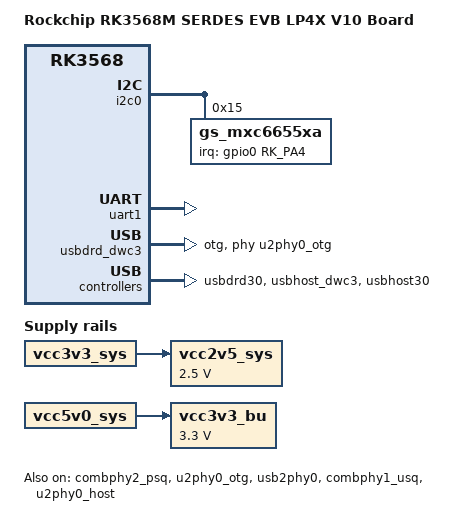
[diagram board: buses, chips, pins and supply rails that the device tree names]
// SPDX-License-Identifier: (GPL-2.0+ OR MIT)
/*
 * Copyright (c) 2022 Rockchip Electronics Co., Ltd.
 *
 */

/dts-v1/;

#include <dt-bindings/gpio/gpio.h>
#include <dt-bindings/pinctrl/rockchip.h>
#include <dt-bindings/mfd/rockchip-serdes.h>
#include "rk3568.dtsi"
#include "rk3568-evb.dtsi"

/ {
	model = "Rockchip RK3568M SERDES EVB LP4X V10 Board";
	compatible = "rockchip,rk3568m-serdes-evb-lp4x-v10", "rockchip,rk3568";

	vcc2v5_sys: vcc2v5-ddr {
		compatible = "regulator-fixed";
		regulator-name = "vcc2v5-sys";
		regulator-always-on;
		regulator-boot-on;
		regulator-min-microvolt = <2500000>;
		regulator-max-microvolt = <2500000>;
		vin-supply = <&vcc3v3_sys>;
	};

	vcc3v3_bu: vcc3v3-bu {
		compatible = "regulator-fixed";
		regulator-name = "vcc3v3_bu";
		regulator-always-on;
		regulator-boot-on;
		regulator-min-microvolt = <3300000>;
		regulator-max-microvolt = <3300000>;
		vin-supply = <&vcc5v0_sys>;
	};
};

&combphy0_us {
	status = "okay";
};

&combphy2_psq {
	status = "okay";
};

&gt1x {
	status = "disabled";
};

&i2c0 {
	status = "okay";

	gs_mxc6655xa: gs_mxc6655xa@15 {
		status = "okay";
		compatible = "gs_mxc6655xa";
		pinctrl-names = "default";
		pinctrl-0 = <&mxc6655xa_irq_gpio>;
		reg = <0x15>;
		irq-gpio = <&gpio0 RK_PA4 IRQ_TYPE_LEVEL_LOW>;
		irq_enable = <0>;
		poll_delay_ms = <30>;
		type = <SENSOR_TYPE_ACCEL>;
		power-off-in-suspend = <1>;
		layout = <1>;
	};
};

&i2c5 {
	status = "disabled";
};

&pinctrl {
	mxc6655xa {
		mxc6655xa_irq_gpio: mxc6655xa_irq_gpio {
			rockchip,pins = <0 RK_PA4 RK_FUNC_GPIO &pcfg_pull_none>;
		};
	};

	serdes {
		serdes_reset_ser0_gpio: serdes_reset_ser0_gpio {
			rockchip,pins = <0 RK_PB7 RK_FUNC_GPIO &pcfg_pull_none>;
		};
		serdes_reset_ser1_gpio: serdes_reset_ser1_gpio {
			rockchip,pins = <2 RK_PA2 RK_FUNC_GPIO &pcfg_pull_none>;
		};
		serdes_enable_ser0_gpio: serdes_enable_ser0_gpio {
			rockchip,pins = <0 RK_PD3 RK_FUNC_GPIO &pcfg_pull_none>;
		};
		serdes_enable_ser1_gpio: serdes_enable_ser1_gpio {
			rockchip,pins = <0 RK_PD4 RK_FUNC_GPIO &pcfg_pull_none>;
		};
		serdes_irq_ser0_gpio: serdes_irq_ser0_gpio {
			rockchip,pins = <0 RK_PC7 RK_FUNC_GPIO &pcfg_pull_none>;
		};
		serdes_irq_ser1_gpio: serdes_irq_ser1_gpio {
			rockchip,pins = <1 RK_PD7 RK_FUNC_GPIO &pcfg_pull_none>;
		};
	};

	serdes_panel {
		panel_reset_ser0_gpio: panel-reset-ser0-gpio {
			rockchip,pins = <0 RK_PC1 RK_FUNC_GPIO &pcfg_pull_none>;
		};
		panel_enable_ser0_gpio: panel-enable-ser0-gpio {
			rockchip,pins = <0 RK_PC5 RK_FUNC_GPIO &pcfg_pull_none>;
		};
		panel_reset_ser1_gpio: panel-reset-ser1-gpio {
			rockchip,pins = <1 RK_PA4 RK_FUNC_GPIO &pcfg_pull_none>;
		};
		panel_enable_ser1_gpio: panel-enable-ser1-gpio {
			rockchip,pins = <2 RK_PA0 RK_FUNC_GPIO &pcfg_pull_none>;
		};
	};
};

&pmu_io_domains {
	vccio6-supply = <&vcc_3v3>;
};

&pwm7 {
	status = "disabled";
};

&rk809_codec {
	status = "disabled";
};

&sdmmc0 {
	status = "disabled";
};

&sdmmc2 {
	status = "disabled";
};

&uart1 {
	status = "okay";
	pinctrl-names = "default";
	pinctrl-0 = <&uart1m0_xfer &uart1m0_ctsn>;
};

&wireless_wlan {
	status = "disabled";
};

&wireless_bluetooth {
	status = "disabled";
};

/* OTG0 */
&combphy0_us {
	rockchip,dis-u3otg0-port;
	/* OTG and SATA0 not use combphy0_us, then disabled */
	status = "disabled";
};

&i2c1 {
	status = "disabled";
	clock-frequency = <100000>;

	rkx110_x120: rkx110-x120@57 {
		compatible = "rockchip,rkx110";
		reg = <0x57>;
		remote0-addr = <0x54>;
		#address-cells = <1>;
		#size-cells = <0>;
		status = "okay";

		enable-gpios = <&gpio0 RK_PD3 GPIO_ACTIVE_HIGH>;
		reset-gpios = <&gpio0 RK_PB7 GPIO_ACTIVE_LOW>;
		irq-gpios = <&gpio0 RK_PC7 GPIO_ACTIVE_HIGH>;
		pinctrl-names = "default";
		pinctrl-0 = <&serdes_reset_ser0_gpio &serdes_enable_ser0_gpio
			     &serdes_irq_ser0_gpio>;

		serdes_panel: serdes-panel {
			compatible = "rockchip,serdes-panel";
			reg = <0>;
			status = "okay";

			display_timings0: display-timings {
				native-mode = <&serdes_timing0>;
				serdes_timing0: timing0 {
					clock-frequency = <132000000>;
					hactive = <1080>;
					vactive = <1920>;
					hfront-porch = <15>;
					hsync-len = <2>;
					hback-porch = <30>;
					vfront-porch = <15>;
					vsync-len = <2>;
					vback-porch = <15>;
					hsync-active = <0>;
					vsync-active = <0>;
					de-active = <0>;
					pixelclk-active = <1>;
				};
			};
		};
	};
};

&i2c4 {
	status = "disabled";
	clock-frequency = <100000>;

	rkx110_x120_1: rkx110-x120@57 {
		compatible = "rockchip,rkx110";
		reg = <0x57>;
		remote0-addr = <0x54>;
		#address-cells = <1>;
		#size-cells = <0>;
		status = "okay";

		enable-gpios = <&gpio0 RK_PD4 GPIO_ACTIVE_HIGH>;
		reset-gpios = <&gpio2 RK_PA2 GPIO_ACTIVE_LOW>;
		irq-gpios = <&gpio1 RK_PD7 GPIO_ACTIVE_HIGH>;
		pinctrl-names = "default";
		pinctrl-0 = <&serdes_reset_ser1_gpio &serdes_enable_ser1_gpio
			     &serdes_irq_ser1_gpio>;

		serdes_panel1: serdes-panel {
			compatible = "rockchip,serdes-panel";
			reg = <0>;
			status = "okay";

			display_timings1: display-timings {
				native-mode = <&serdes_timing0>;
				serdes_timing1: timing0 {
					clock-frequency = <132000000>;
					hactive = <1080>;
					vactive = <1920>;
					hfront-porch = <15>;
					hsync-len = <2>;
					hback-porch = <30>;
					vfront-porch = <15>;
					vsync-len = <2>;
					vback-porch = <15>;
					hsync-active = <0>;
					vsync-active = <0>;
					de-active = <0>;
					pixelclk-active = <1>;
				};
			};
		};
	};
};

&u2phy0_otg {
	vbus-supply = <&vcc5v0_otg>;
	status = "okay";
};

&usb2phy0 {
	status = "okay";
};

&usbdrd_dwc3 {
	dr_mode = "otg";
	phys = <&u2phy0_otg>;
	phy-names = "usb2-phy";
	extcon = <&usb2phy0>;
	maximum-speed = "high-speed";
	snps,dis_u2_susphy_quirk;
	status = "okay";
};

&usbdrd30 {
	status = "okay";
};

/* HOST1 */
&combphy1_usq {
	status = "okay";
};

&u2phy0_host {
	phy-supply = <&vcc5v0_host>;
	status = "okay";
};

&usb2phy0 {
	status = "okay";
};

&usbhost_dwc3 {
	status = "okay";
};

&usbhost30 {
	status = "okay";
};
